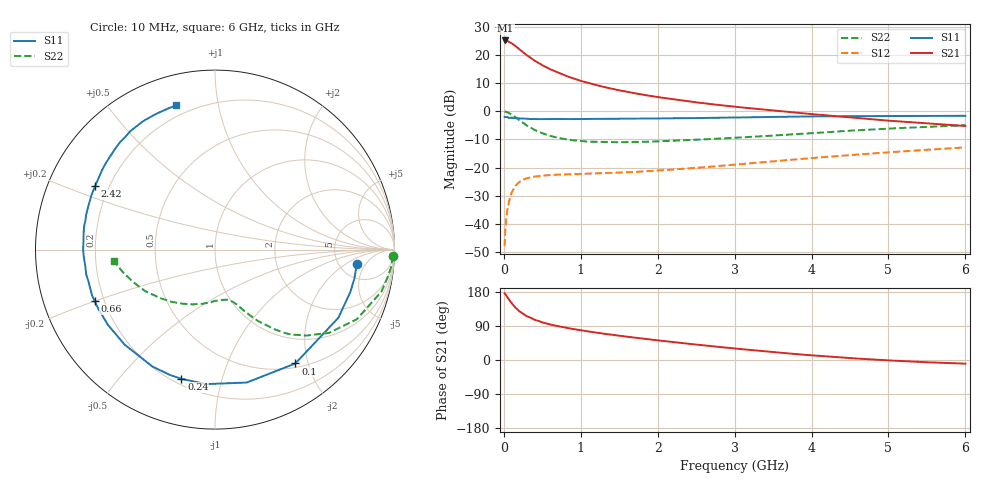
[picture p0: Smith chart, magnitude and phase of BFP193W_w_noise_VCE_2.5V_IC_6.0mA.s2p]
! Infineon Technologies  Discrete & RF Semiconductors
! BFP193W
! VCE = 2.5 V,  IC =  6.0 mA
! Common Emitter S-Parameters:  Jan 2016
# GHz  S  MA  R  50
!  f  S11  S21  S12  S22
! GHz  MAG  ANG  MAG  ANG  MAG  ANG  MAG  ANG
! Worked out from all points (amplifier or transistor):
!   210 points, 10 MHz to 6 GHz, reference 50 ohm
!   highest |S21| = 25.2 dB at 20 MHz (marker M1)
!   |S21| within 3 dB of that: start of sweep to 195.7 MHz
!   unconditionally stable (mu >= 1): 1.568 GHz to 4.357 GHz
!   at 185 MHz: K = 0.15, MSG = 24.0 dB, |S12| = -25.6 dB
!   at 1.52 GHz: K = 0.98, MSG = 14.6 dB, |S12| = -21.8 dB
!   at 6 GHz: K = 0.93, MSG = 3.8 dB, |S12| = -12.8 dB
!   lowest NFmin = 1.20 dB at 450 MHz
!   S11 on the Smith chart (normalised r, x): 10 MHz: 7.31, -3.18; 100 MHz: 0.56, -1.79; 240 MHz: 0.23, -0.75; 660 MHz: 0.16, -0.20; 2.42 GHz: 0.15, +0.24; 6 GHz: 0.14, +0.76
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0.01  0.7941 -5.8  18.14 175.9  0.004 88.2  0.9915 -2.1
0.02  0.7934 -11.8  18.18 173.6  0.008 84.4  0.9856 -5.9
0.03  0.7899 -17.5  18.11 170.5  0.0117 82.2  0.9761 -8.6
0.05  0.7854 -28.9  17.75 164.2  0.0195 74.9  0.9567 -14.1
0.1  0.7765 -54.8  16.28 150.1  0.0353 63.5  0.8807 -26.1
0.15  0.7615 -76.6  14.54 138.1  0.0472 53.8  0.7872 -36.1
0.2  0.751 -93.8  12.73 128.8  0.0551 46.2  0.6975 -43.4
0.24  0.7438 -104.6  11.51 123.1  0.0596 41.5  0.6378 -47.9
0.3  0.7389 -118.2  9.891 115.4  0.0646 36.4  0.5581 -53.0
0.4  0.7306 -133.6  7.96 106.2  0.0692 30.7  0.4666 -58.8
0.5  0.7292 -144.8  6.601 99.3  0.072 27.5  0.4074 -62.5
0.6  0.729 -153.0  5.609 93.8  0.0733 25.5  0.3664 -65.4
0.66  0.7292 -156.9  5.176 91.3  0.0742 25.0  0.3493 -66.6
0.8  0.7265 -164.8  4.303 85.3  0.0754 23.9  0.3191 -69.5
1.02  0.729 -173.6  3.417 77.9  0.0772 24.2  0.2946 -73.9
1.4  0.7358 174.9  2.525 66.7  0.0806 26.6  0.2833 -81.4
2.02  0.7471 160.0  1.776 51.4  0.0888 32.9  0.2937 -94.3
2.42  0.7557 152.1  1.49 42.4  0.0968 36.7  0.3101 -103.1
3.1  0.7786 139.9  1.169 28.6  0.1157 41.0  0.3439 -118.4
4.1  0.8121 124.4  0.868 11.0  0.1511 41.9  0.4159 -141.0
5.1  0.8244 112.9  0.667 -2.0  0.1905 39.0  0.4997 -160.6
6  0.8325 105.1  0.548 -9.6  0.2283 34.9  0.5657 -173.6
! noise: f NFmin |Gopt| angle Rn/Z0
0.45  1.2  0.25  114  0.13
0.9  1.25  0.37  150  0.12
1.8  2  0.55  -158  0.12
